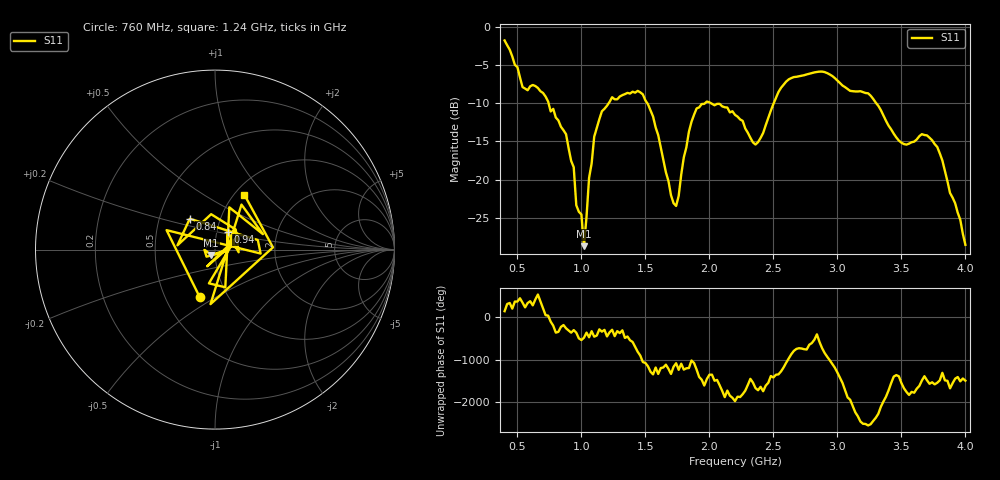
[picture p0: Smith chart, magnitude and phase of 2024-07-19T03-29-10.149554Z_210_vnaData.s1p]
!Created with skrf (http://scikit-rf.org).
# Hz S RI R 50.0
!freq ReS11 ImS11
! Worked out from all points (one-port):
!   181 points, 400 MHz to 4 GHz, reference 50 ohm
!   lowest |S11| = -28.7 dB at 1.02 GHz (marker M1), VSWR 1.08, Z = 47.8 - j2.85 ohm
!   |S11| at or under -10 dB: 743.6 MHz to 1.213 GHz (468.9 MHz wide, 47.9 % of centre); 2.014 GHz to 2.502 GHz (488 MHz wide, 21.6 % of centre); 3.304 GHz to end of sweep (the widest 3 of 4)
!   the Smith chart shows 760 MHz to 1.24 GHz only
!   S11 on the Smith chart (normalised r, x): 760 MHz: 0.74, -0.43; 840 MHz: 0.71, +0.26; 940 MHz: 1.13, +0.22; 1.24 GHz: 1.11, +0.77
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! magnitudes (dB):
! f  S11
! 400 MHz  -1.8
! 540 MHz  -7.9
! 760 MHz  -11.1
! 840 MHz  -13.1
! 860 MHz  -13.5
! 940 MHz  -18.4
! 960 MHz  -23.4
! 1 GHz  -24.6
! 1.02 GHz  -28.7
! 1.06 GHz  -19.8
! 1.1 GHz  -14.4
! 1.24 GHz  -9.2
! 1.3 GHz  -9.1
! 1.48 GHz  -8.8
! 1.56 GHz  -11.7
! 1.72 GHz  -23.1
! 1.76 GHz  -22.1
! 1.84 GHz  -13.7
! 1.9 GHz  -10.7
! 2.2 GHz  -11.5
! 2.36 GHz  -15.4
! 2.66 GHz  -6.6
! 2.9 GHz  -5.9
! 3.1 GHz  -8.4
! 3.24 GHz  -8.7
! 3.56 GHz  -15.3
! 3.78 GHz  -15.7
! 4 GHz  -28.5
